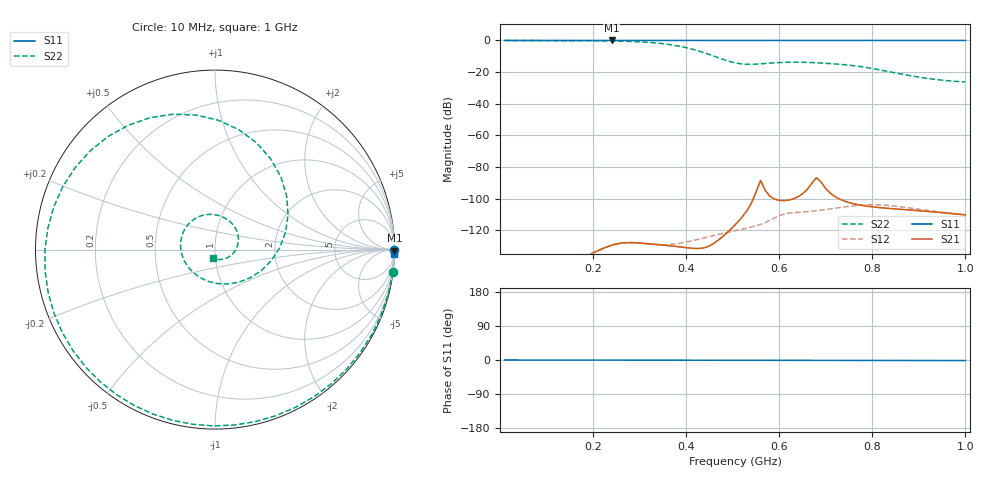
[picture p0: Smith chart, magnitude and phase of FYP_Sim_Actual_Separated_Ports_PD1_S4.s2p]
! Touchstone file from project FYP_Sim_Actual_Separated_Ports
! Exported from HFSS 13.0.2
# GHZ S MA R 50.000000
! Terminal data exported
! Port[1] = PD1_Void_Port_T1
! Port[2] = Radiating_Plate_T1
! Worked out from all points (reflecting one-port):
!   100 points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, 10 MHz to 1 GHz, reference 50 ohm
!   lowest |S11| = 0.0 dB at 240 MHz (marker M1)
!   phase of S11 starts at -0 deg and turns -1 deg over the sweep
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0.01  1 -0.0  1.624e-10 127.2  3.985e-11 128.5  0.9983 -7.2
0.05  1 -0.1  8.719e-10 -55.1  8.958e-10 -83.2  0.992 -35.4
0.1  1 -0.1  1.422e-08 -10.9  1.418e-08 -10.7  0.9855 -69.9
0.14  1 -0.2  6.435e-08 -33.9  6.29e-08 -22.6  0.9812 -97.1
0.18  1 -0.3  1.371e-07 -38.5  1.408e-07 -33.7  0.9767 -124.1
0.21  1 -0.3  2.255e-07 -45.4  2.262e-07 -45.1  0.9709 -144.5
0.24  1 -0.3  3.403e-07 -61.0  3.308e-07 -61.3  0.9599 -165.4
0.27  1 -0.4  4.059e-07 -81.7  4.076e-07 -81.7  0.9393 172.8
0.29  1 -0.4  4.037e-07 -92.2  4.119e-07 -93.6  0.9174 157.6
0.32  1 -0.5  3.748e-07 -100.7  3.742e-07 -101.6  0.8673 133.4
0.34  1 -0.5  3.529e-07 -102.7  3.541e-07 -99.8  0.8192 116.2
0.36  1 -0.5  3.309e-07 -102.2  3.542e-07 -94.2  0.7572 98.0
0.38  1 -0.5  3.077e-07 -99.1  3.786e-07 -86.9  0.6811 78.7
0.42  1 -0.6  2.672e-07 -78.6  4.968e-07 -73.7  0.4984 36.8
0.44  1 -0.6  2.841e-07 -56.6  5.851e-07 -68.6  0.4045 13.8
0.47  1 -0.7  5.016e-07 -23.3  7.471e-07 -61.9  0.2828 -24.7
0.51  1 -0.7  1.762e-06 -8.3  1.011e-06 -53.2  0.1896 -86.3
0.58  1 -0.8  1.197e-05 -175.1  2.076e-06 -34.1  0.1919 176.6
0.67  1 -1.0  3.057e-05 170.6  4.028e-06 -71.1  0.1998 101.0
0.76  1 -1.1  6.908e-06 -105.6  5.949e-06 -103.8  0.1591 39.8
0.84  1 -1.2  4.877e-06 -140.2  6.019e-06 -149.8  0.1003 -14.4
1  1 -1.5  3.086e-06 164.6  3.086e-06 164.6  0.04877 -103.4
